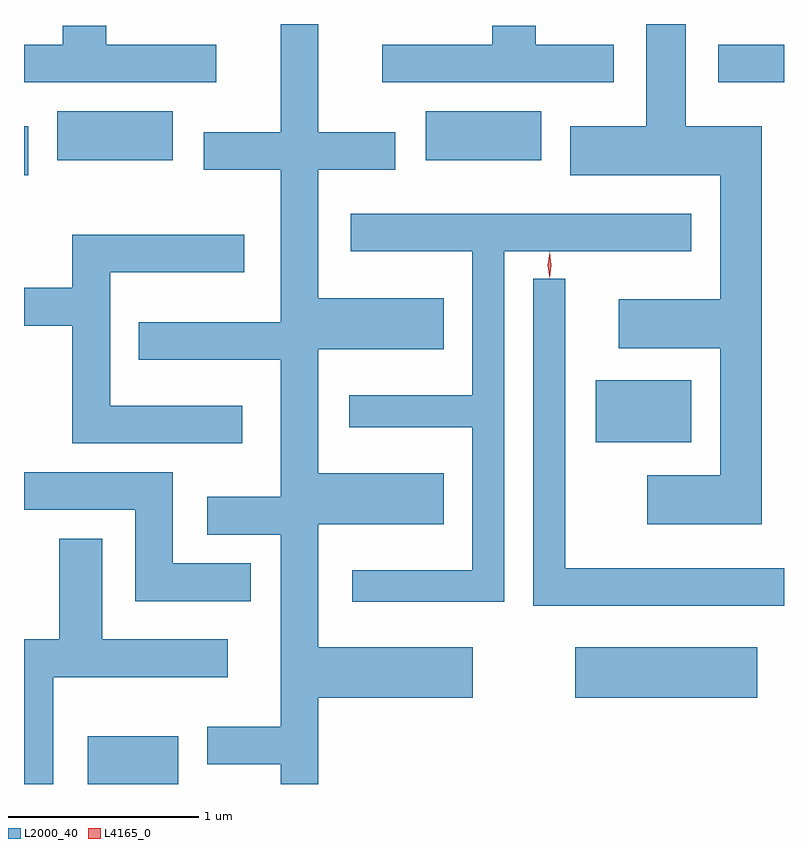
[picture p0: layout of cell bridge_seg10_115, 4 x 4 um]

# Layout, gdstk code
import gdstk
lib = gdstk.Library(unit=1e-6, precision=1e-09)
def R(c, l, rs):  # rectangles x0, y0, x1, y1
    for r in rs: c.add(gdstk.rectangle(r[:2], r[2:], *l))
def P(c, l, *ps):  # polygons
    for p in ps: c.add(gdstk.Polygon(p, *l))
L2000_40 = (2000, 40)
L4165_0 = (4165, 0)

bridge_seg10_115 = lib.new_cell('bridge_seg10_115')
R(bridge_seg10_115, L2000_40, [(1655.576,2139.513,1656.054,2139.764), (1658.141,2139.966,1659.099,2140.234), (1658.251,2141.311,1658.754,2141.639), (1655.241,2142.716,1655.264,2142.974), (1655.416,2142.796,1656.024,2143.054), (1657.356,2142.796,1657.964,2143.054), (1658.896,2143.206,1659.241,2143.404)])
P(bridge_seg10_115, L2000_40, [(1659.124,2142.974),(1658.724,2142.974),(1658.724,2143.513),(1658.516,2143.513),(1658.516,2142.974),(1658.116,2142.974),(1658.116,2142.716),(1658.906,2142.716),(1658.906,2142.064),(1658.371,2142.064),(1658.371,2141.806),(1658.906,2141.806),(1658.906,2141.139),(1658.521,2141.139),(1658.521,2140.881),(1659.124,2140.881)],
  [(1658.344,2143.404),(1657.934,2143.404),(1657.934,2143.504),(1657.706,2143.504),(1657.706,2143.404),(1657.126,2143.404),(1657.126,2143.206),(1658.344,2143.206)],
  [(1656.254,2143.404),(1655.674,2143.404),(1655.674,2143.504),(1655.446,2143.504),(1655.446,2143.404),(1655.241,2143.404),(1655.241,2143.206),(1656.254,2143.206)],
  [(1657.769,2142.316),(1658.754,2142.316),(1658.754,2142.514),(1656.961,2142.514),(1656.961,2142.316),(1657.601,2142.316),(1657.601,2141.559),(1656.953,2141.559),(1656.953,2141.391),(1657.601,2141.391),(1657.601,2140.639),(1656.968,2140.639),(1656.968,2140.471),(1657.769,2140.471)],
  [(1656.389,2141.504),(1655.694,2141.504),(1655.694,2142.206),(1656.399,2142.206),(1656.399,2142.404),(1655.496,2142.404),(1655.496,2142.124),(1655.241,2142.124),(1655.241,2141.926),(1655.496,2141.926),(1655.496,2141.306),(1656.389,2141.306)],
  [(1659.241,2140.649),(1658.089,2140.649),(1658.089,2142.173),(1657.921,2142.173),(1657.921,2140.451),(1659.241,2140.451)],
  [(1656.434,2140.674),(1656.024,2140.674),(1656.024,2141.154),(1655.241,2141.154),(1655.241,2140.956),(1655.826,2140.956),(1655.826,2140.476),(1656.434,2140.476)],
  [(1655.394,2140.076),(1656.314,2140.076),(1656.314,2140.274),(1655.654,2140.274),(1655.654,2140.804),(1655.426,2140.804),(1655.426,2140.274),(1655.241,2140.274),(1655.241,2139.513),(1655.394,2139.513)],
  [(1657.449,2140.881),(1657.449,2141.149),(1656.789,2141.149),(1656.789,2141.801),(1657.449,2141.801),(1657.449,2142.069),(1656.789,2142.069),(1656.789,2142.746),(1657.194,2142.746),(1657.194,2142.944),(1656.789,2142.944),(1656.789,2143.513),(1656.591,2143.513),(1656.591,2142.944),(1656.186,2142.944),(1656.186,2142.746),(1656.591,2142.746),(1656.591,2141.944),(1655.846,2141.944),(1655.846,2141.746),(1656.591,2141.746),(1656.591,2141.024),(1656.206,2141.024),(1656.206,2140.826),(1656.591,2140.826),(1656.591,2139.814),(1656.206,2139.814),(1656.206,2139.616),(1656.591,2139.616),(1656.591,2139.513),(1656.789,2139.513),(1656.789,2139.966),(1657.604,2139.966),(1657.604,2140.234),(1656.789,2140.234),(1656.789,2140.881)])
P(bridge_seg10_115, L4165_0, [(1658.007,2142.178),(1658.007,2142.178),(1657.997,2142.244),(1658.007,2142.311),(1658.007,2142.311),(1658.008,2142.311),(1658.017,2142.244),(1658.008,2142.178)],
  [(1658.007,2142.174),(1658.007,2142.175),(1657.997,2142.244),(1658.007,2142.313),(1658.007,2142.314),(1658.008,2142.313),(1658.017,2142.244),(1658.008,2142.175)])

lib.write_gds('bridge_seg10_115.gds')
